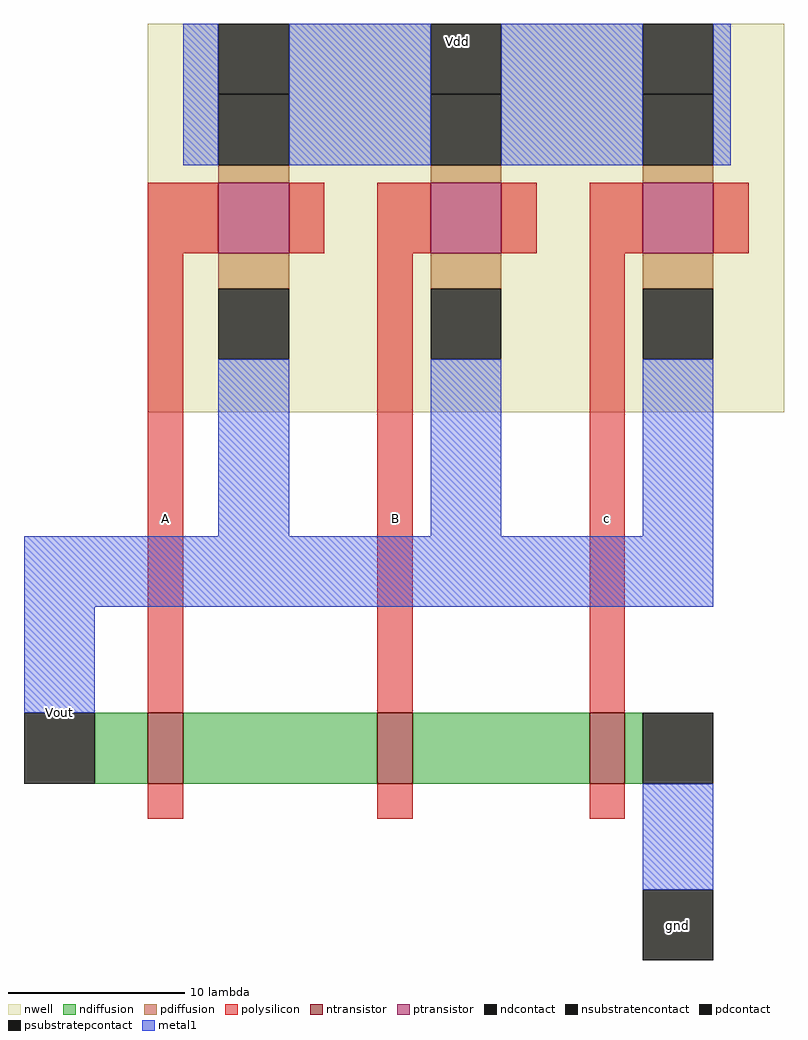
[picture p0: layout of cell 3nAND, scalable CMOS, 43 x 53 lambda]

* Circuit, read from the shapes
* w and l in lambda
.subckt 3nAND A B Vdd Vout c gnd
M1 n1 A Vout gnd nfet w=4 l=2
M2 n2 B n1 gnd nfet w=4 l=2
M3 gnd c n2 gnd nfet w=4 l=2
M4 Vdd A Vout Vdd pfet w=4 l=4
M5 Vdd B Vout Vdd pfet w=4 l=4
M6 Vdd c Vout Vdd pfet w=4 l=4
.ends

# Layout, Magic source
magic
tech scmos
<< nwell >>
rect -18 -2 18 20
<< polysilicon >>
rect -18 7 -14 11
rect -10 7 -8 11
rect -5 7 -2 11
rect 2 7 4 11
rect 7 7 10 11
rect 14 7 16 11
rect -18 -19 -16 7
rect -5 -19 -3 7
rect 7 -19 9 7
rect -18 -25 -16 -23
rect -5 -25 -3 -23
rect 7 -25 9 -23
<< ndiffusion >>
rect -21 -23 -18 -19
rect -16 -23 -5 -19
rect -3 -23 7 -19
rect 9 -23 10 -19
<< pdiffusion >>
rect -14 11 -10 12
rect -2 11 2 12
rect 10 11 14 12
rect -14 5 -10 7
rect -2 5 2 7
rect 10 5 14 7
<< metal1 >>
rect -16 12 -14 20
rect -10 12 -2 20
rect 2 12 10 20
rect 14 12 15 20
rect -14 -9 -10 1
rect -2 -9 2 1
rect 10 -9 14 1
rect -25 -13 14 -9
rect -25 -19 -21 -13
rect 10 -29 14 -23
<< ntransistor >>
rect -18 -23 -16 -19
rect -5 -23 -3 -19
rect 7 -23 9 -19
<< ptransistor >>
rect -14 7 -10 11
rect -2 7 2 11
rect 10 7 14 11
<< ndcontact >>
rect -25 -23 -21 -19
rect 10 -23 14 -19
<< pdcontact >>
rect -14 12 -10 16
rect -2 12 2 16
rect 10 12 14 16
rect -14 1 -10 5
rect -2 1 2 5
rect 10 1 14 5
<< psubstratepcontact >>
rect 10 -33 14 -29
<< nsubstratencontact >>
rect -14 16 -10 20
rect -2 16 2 20
rect 10 16 14 20
<< labels >>
rlabel nwell -16 19 15 19 5 Vdd
rlabel psubstratepcontact 10 -31 14 -31 1 gnd
rlabel polysilicon -18 -8 -16 -8 3 A
rlabel polysilicon -5 -8 -3 -8 1 B
rlabel polysilicon 7 -8 9 -8 1 c
rlabel ndcontact -25 -19 -21 -19 3 Vout
<< end >>
